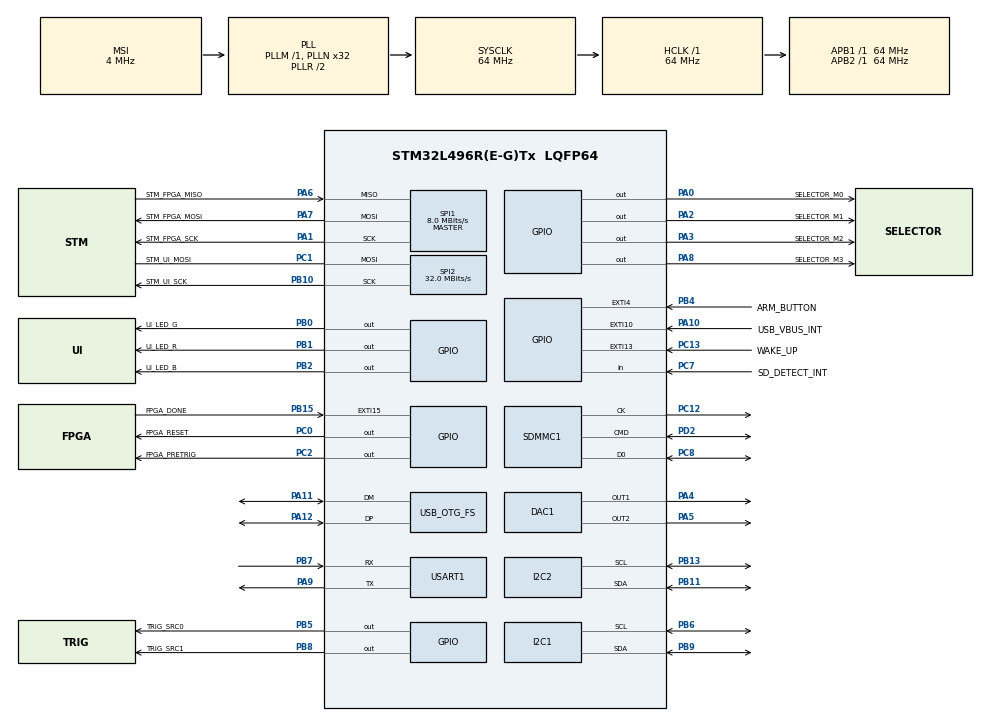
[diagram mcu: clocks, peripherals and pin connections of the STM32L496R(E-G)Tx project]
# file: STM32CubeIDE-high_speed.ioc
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DAC1.DAC_Channel-DAC_OUT2=DAC_CHANNEL_2
Dma.Request0=SPI1_RX
Dma.Request1=SPI1_TX
Dma.SPI1_RX.0.Direction=DMA_PERIPH_TO_MEMORY
Dma.SPI1_RX.0.Instance=DMA1_Channel2
Dma.SPI1_RX.0.MemDataAlignment=DMA_MDATAALIGN_BYTE
Dma.SPI1_RX.0.MemInc=DMA_MINC_ENABLE
Dma.SPI1_RX.0.Mode=DMA_NORMAL
Dma.SPI1_RX.0.PeriphDataAlignment=DMA_PDATAALIGN_BYTE
Dma.SPI1_RX.0.PeriphInc=DMA_PINC_DISABLE
Dma.SPI1_RX.0.Priority=DMA_PRIORITY_LOW
Dma.SPI1_TX.1.Direction=DMA_MEMORY_TO_PERIPH
Dma.SPI1_TX.1.Instance=DMA1_Channel3
Dma.SPI1_TX.1.MemDataAlignment=DMA_MDATAALIGN_BYTE
Dma.SPI1_TX.1.MemInc=DMA_MINC_ENABLE
Dma.SPI1_TX.1.Mode=DMA_NORMAL
Dma.SPI1_TX.1.PeriphDataAlignment=DMA_PDATAALIGN_BYTE
Dma.SPI1_TX.1.PeriphInc=DMA_PINC_DISABLE
Dma.SPI1_TX.1.Priority=DMA_PRIORITY_LOW
FATFS.BSP.number=1
FATFS.USE_DMA_CODE_SD=0
FATFS._MAX_SS=4096
FATFS._MIN_SS=512
FATFS._USE_CHMOD=1
FATFS._USE_MKFS=0
FATFS0.BSP.STBoard=false
FATFS0.BSP.api=Unknown
FATFS0.BSP.i2caddr=0
FATFS0.BSP.instance=PC7
FATFS0.BSP.ip=GPIO
FATFS0.BSP.mode=Input
FATFS0.BSP.name=Detect_SDIO
FATFS0.BSP.solution=PC7
I2C1.Timing=0x10707DBC
I2C2.Timing=0x10707DBC
Mcu.Family=STM32L4
Mcu.Name=STM32L496R(E-G)Tx
Mcu.Package=LQFP64
NVIC.DMA1_Channel2_IRQn=true\:0\:0\:false\:false\:true\:false\:true\:true
NVIC.DMA1_Channel3_IRQn=true\:0\:0\:false\:false\:true\:false\:true\:true
NVIC.EXTI15_10_IRQn=true\:5\:0\:true\:false\:true\:true\:true\:true
NVIC.EXTI4_IRQn=true\:5\:0\:true\:false\:true\:true\:true\:true
NVIC.PriorityGroup=NVIC_PRIORITYGROUP_4
NVIC.TIM1_UP_TIM16_IRQn=true\:0\:0\:false\:false\:true\:true\:true\:true
PA0.GPIO_Label=SELECTOR_M0
PA0.Signal=GPIO_Output
PA1.GPIO_Label=STM_FPGA_SCK
PA1.GPIO_Speed=GPIO_SPEED_FREQ_MEDIUM
PA1.Mode=Full_Duplex_Master
PA1.Signal=SPI1_SCK
PA10.GPIO_Label=USB_VBUS_INT
PA10.Signal=GPXTI10
PA11.Mode=Host_Only
PA11.Signal=USB_OTG_FS_DM
PA12.Mode=Host_Only
PA12.Signal=USB_OTG_FS_DP
PA13\ (JTMS/SWDIO).Mode=Trace_Asynchronous_SW
PA13\ (JTMS/SWDIO).Signal=SYS_JTMS-SWDIO
PA14\ (JTCK/SWCLK).Mode=Trace_Asynchronous_SW
PA14\ (JTCK/SWCLK).Signal=SYS_JTCK-SWCLK
PA2.GPIO_Label=SELECTOR_M1
PA2.Signal=GPIO_Output
PA3.GPIO_Label=SELECTOR_M2
PA3.Signal=GPIO_Output
PA4.Signal=COMP_DAC11_group
PA5.Signal=COMP_DAC12_group
PA6.GPIO_Label=STM_FPGA_MISO
PA6.GPIO_PuPd=GPIO_PULLUP
PA6.GPIO_Speed=GPIO_SPEED_FREQ_MEDIUM
PA6.Mode=Full_Duplex_Master
PA6.Signal=SPI1_MISO
PA7.GPIO_Label=STM_FPGA_MOSI
PA7.GPIO_Speed=GPIO_SPEED_FREQ_MEDIUM
PA7.Mode=Full_Duplex_Master
PA7.Signal=SPI1_MOSI
PA8.GPIO_Label=SELECTOR_M3
PA8.Signal=GPIO_Output
PA9.Mode=Asynchronous
PA9.Signal=USART1_TX
PB0.GPIO_Label=UI_LED_G
PB0.Signal=GPIO_Output
PB1.GPIO_Label=UI_LED_R
PB1.Signal=GPIO_Output
PB10.GPIO_Label=STM_UI_SCK
PB10.GPIO_Speed=GPIO_SPEED_FREQ_MEDIUM
PB10.Mode=Simplex_Bidirectional_Master
PB10.Signal=SPI2_SCK
PB11.Mode=I2C
PB11.Signal=I2C2_SDA
PB13.Mode=I2C
PB13.Signal=I2C2_SCL
PB15.GPIO_Label=FPGA_DONE
PB15.GPIO_ModeDefaultEXTI=GPIO_MODE_IT_RISING_FALLING
PB15.Signal=GPXTI15
PB2.GPIO_Label=UI_LED_B
PB2.Signal=GPIO_Output
PB3\ (JTDO/TRACESWO).Mode=Trace_Asynchronous_SW
PB3\ (JTDO/TRACESWO).Signal=SYS_JTDO-SWO
PB4\ (NJTRST).GPIO_Label=ARM_BUTTON
PB4\ (NJTRST).GPIO_ModeDefaultEXTI=GPIO_MODE_IT_FALLING
PB4\ (NJTRST).GPIO_PuPd=GPIO_PULLUP
PB4\ (NJTRST).Signal=GPXTI4
PB5.GPIO_Label=TRIG_SRC0
PB5.Signal=GPIO_Output
PB6.Mode=I2C
PB6.Signal=I2C1_SCL
PB7.Mode=Asynchronous
PB7.Signal=USART1_RX
PB8.GPIO_Label=TRIG_SRC1
PB8.Signal=GPIO_Output
PB9.Mode=I2C
PB9.Signal=I2C1_SDA
PC0.GPIO_Label=FPGA_RESET
PC0.Signal=GPIO_Output
PC1.GPIO_Label=STM_UI_MOSI
PC1.GPIO_Speed=GPIO_SPEED_FREQ_MEDIUM
PC1.Mode=Simplex_Bidirectional_Master
PC1.Signal=SPI2_MOSI
PC12.Mode=SD_1_bit
PC12.Signal=SDMMC1_CK
PC13.GPIO_Label=WAKE_UP
PC13.GPIO_PuPd=GPIO_PULLUP
PC13.Signal=GPXTI13
PC14-OSC32_IN\ (PC14).Mode=LSE-External-Oscillator
PC14-OSC32_IN\ (PC14).Signal=RCC_OSC32_IN
PC15-OSC32_OUT\ (PC15).Mode=LSE-External-Oscillator
PC15-OSC32_OUT\ (PC15).Signal=RCC_OSC32_OUT
PC2.GPIO_Label=FPGA_PRETRIG
PC2.Signal=GPIO_Output
PC7.GPIO_Label=SD_DETECT_INT
PC7.Signal=GPIO_Input
PC8.Mode=SD_1_bit
PC8.Signal=SDMMC1_D0
PD2.Mode=SD_1_bit
PD2.Signal=SDMMC1_CMD
PH0-OSC_IN\ (PH0).Mode=HSE-External-Oscillator
PH0-OSC_IN\ (PH0).Signal=RCC_OSC_IN
PH1-OSC_OUT\ (PH1).Mode=HSE-External-Oscillator
PH1-OSC_OUT\ (PH1).Signal=RCC_OSC_OUT
ProjectManager.HeapSize=0x1000
ProjectManager.StackSize=0x1000
ProjectManager.TargetToolchain=STM32CubeIDE
RCC.ADCFreq_Value=32000000
RCC.AHBFreq_Value=64000000
RCC.APB1Freq_Value=64000000
RCC.APB1TimFreq_Value=64000000
RCC.APB2Freq_Value=64000000
RCC.APB2TimFreq_Value=64000000
RCC.CK48CLockSelection=RCC_USBCLKSOURCE_HSI48
RCC.CortexFreq_Value=64000000
RCC.HCLKFreq_Value=64000000
RCC.HSE_VALUE=8000000
RCC.HSI48_VALUE=48000000
RCC.HSI_VALUE=16000000
RCC.MSI_VALUE=4000000
RCC.PLLN=32
RCC.PLLSAI1N=16
RCC.SYSCLKFreq_VALUE=64000000
RCC.SYSCLKSource=RCC_SYSCLKSOURCE_PLLCLK
RCC.USBFreq_Value=48000000
RCC.VCOOutputFreq_Value=128000000
SDMMC1.ClockDiv=4
SH.COMP_DAC11_group.0=DAC1_OUT1,DAC_OUT1
SH.COMP_DAC12_group.0=DAC1_OUT2,DAC_OUT2
SPI1.BaudRatePrescaler=SPI_BAUDRATEPRESCALER_8
SPI1.CLKPhase=SPI_PHASE_2EDGE
SPI1.CLKPolarity=SPI_POLARITY_HIGH
SPI1.CalculateBaudRate=8.0 MBits/s
SPI1.DataSize=SPI_DATASIZE_8BIT
SPI1.Direction=SPI_DIRECTION_2LINES
SPI1.Mode=SPI_MODE_MASTER
SPI1.VirtualType=VM_MASTER
SPI2.CalculateBaudRate=32.0 MBits/s
SPI2.Direction=SPI_DIRECTION_1LINE
SPI2.Mode=SPI_MODE_MASTER
SPI2.VirtualType=VM_MASTER
TIM16.Period=1000
TIM16.Prescaler=6400-1
USART1.VirtualMode-Asynchronous=VM_ASYNC
USB_OTG_FS.VirtualMode=Host_Only
USB_OTG_FS.phy_itface=HCD_PHY_EMBEDDED
VP_FATFS_VS_SDIO.Mode=SDIO
VP_TIM16_VS_ClockSourceINT.Mode=Enable_Timer
board=custom

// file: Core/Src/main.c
/* USER CODE BEGIN Header */
/**
  ******************************************************************************
  * @file           : main.c
  * @brief          : Main program body
  ******************************************************************************
  * @attention
  *
  * Copyright (c) 2023 STMicroelectronics.
  * All rights reserved.
  *
  * This software is licensed under terms that can be found in the LICENSE file
  * in the root directory of this software component.
  * If no LICENSE file comes with this software, it is provided AS-IS.
  *
  ******************************************************************************
  */
/* USER CODE END Header */
#include "main.h"
#include "fatfs.h"

/* USER CODE BEGIN Includes */

#include "fram_func.h"
#include "sd_card_func.h"
/* USER CODE END Includes */

/* USER CODE BEGIN PD */
//#define MEMORY_SIZE	524288
/* USER CODE END PD */

 DAC_HandleTypeDef hdac1;

I2C_HandleTypeDef hi2c1;
I2C_HandleTypeDef hi2c2;

SD_HandleTypeDef hsd1;

SPI_HandleTypeDef hspi1;
SPI_HandleTypeDef hspi2;
DMA_HandleTypeDef hdma_spi1_rx;
DMA_HandleTypeDef hdma_spi1_tx;

TIM_HandleTypeDef htim16;

UART_HandleTypeDef huart1;

HCD_HandleTypeDef hhcd_USB_OTG_FS;

void SystemClock_Config(void);
static void MX_GPIO_Init(void);
static void MX_DAC1_Init(void);
static void MX_SDMMC1_SD_Init(void);
static void MX_SPI1_Init(void);
static void MX_USART1_UART_Init(void);
static void MX_I2C1_Init(void);
static void MX_I2C2_Init(void);
static void MX_SPI2_Init(void);
static void MX_DMA_Init(void);
static void MX_USB_OTG_FS_HCD_Init(void);
static void MX_TIM16_Init(void);

/* USER CODE BEGIN 0 */
const uint32_t TAB_SIZE = (MEMORY_SIZE/16);
enum color_Led LED_STATE = OFF;
bool reset = true;
bool start = true;
bool acqu = true;
/* USER CODE END 0 */

int main(void)
{
  /* USER CODE BEGIN 1 */
	//FRESULT res; /* FatFs function common result code */
	TCHAR* fileName0 ;
	TCHAR* fileName1 ;
	TCHAR* fileName2 ;
	TCHAR* fileName3 ;
	TCHAR* file_Init = "INIT.txt";
	uint8_t	 TX_Data_ADC[2];
	uint8_t  TX_FRAM_TEST_R[10] ;
	uint16_t DATA_SD;
	uint16_t DATA_ind [TAB_SIZE/2];
	uint8_t pretrigValue = 100;

	//uint8_t  RX_DATA [524288];   -> TOO BIG

  /* USER CODE END 1 */

  /* MCU Configuration--------------------------------------------------------*/

  /* Reset of all peripherals, Initializes the Flash interface and the Systick. */
  HAL_Init();

  /* Configure the system clock */
  SystemClock_Config();

  /* Initialize all configured peripherals */
  MX_GPIO_Init();
  MX_DAC1_Init();
  MX_SDMMC1_SD_Init();
  MX_SPI1_Init();
  MX_USART1_UART_Init();
  MX_I2C1_Init();
  MX_I2C2_Init();
  MX_SPI2_Init();
  MX_DMA_Init();
  MX_USB_OTG_FS_HCD_Init();
  MX_FATFS_Init();
  MX_TIM16_Init();

  /* Infinite loop */
  /* USER CODE BEGIN WHILE */
   uint8_t start_Add[4] ;
   uint32_t start_Add_tot = 0 ;
   uint32_t Add_= 0;
   uint8_t TX_32 = 0;
   uint16_t boucle = 0;
   uint8_t wtext_0 [100] ;
   uint8_t wtext_1 [100] ;
   uint8_t wtext_2 [100] ;
   uint8_t wtext_3 [100] ;
   uint8_t* receive;
   uint8_t chann;
   double* dataInit_;
   double triggDacValue;
   PIN_reset();
   //FRAM_device(hspi1);
  while (1)
  {
	acqu = true;
	TX_32 = 0;
	start = true;
	HAL_SuspendTick();
	__WFI();

	//--------------------------------------------------RESET FPGA----------------------------------------
	HAL_GPIO_WritePin(FPGA_RESET_GPIO_Port, FPGA_RESET_Pin, GPIO_PIN_RESET);
	HAL_Delay(100);
	HAL_GPIO_WritePin(FPGA_RESET_GPIO_Port, FPGA_RESET_Pin, GPIO_PIN_SET);
	//--------------------------------------------------RESET M---------------------------------------
	PIN_reset();
	//----------------------------------------------------------INIT-------------------------------------------
	//-------------------init file sd --------------------------------------
	sprintf((char*)wtext_0, "FRAM0_%d.bin",boucle);
	fileName0 = (TCHAR*)wtext_0;
	SD_create_file(SDFile, fileName0);
	sprintf((char*)wtext_1, "FRAM1_%d.bin",boucle);
	fileName1 = (TCHAR*)wtext_1;
	SD_create_file(SDFile, fileName1);
	sprintf((char*)wtext_2, "FRAM2_%d.bin",boucle);
	fileName2 = (TCHAR*)wtext_2;
	SD_create_file(SDFile, fileName2);
	sprintf((char*)wtext_3, "FRAM3_%d.bin",boucle);
	fileName3 = (TCHAR*)wtext_3;
	SD_create_file(SDFile, fileName3);

	//-------------------init value------------------------------------------------------------------------
	dataInit_ = initValue(SDFile, file_Init);

	chann = (uint8_t)dataInit_[0];
	if(chann >4){
		chann = 0;
	}
	triggDacValue = dataInit_[1]*(0.02)+1;
	if(triggDacValue <1 || triggDacValue>3.3){
		triggDacValue = 1;
	}
	pretrigValue = (uint8_t)dataInit_[2];
	if(pretrigValue >100){
		pretrigValue = 100;
	}
	//--------------------------------------------------LED CONTROL----------------------------------------
	if(LED_STATE != RED){
		LED_on(BLUE);
	}
	else{
		while(1){
			//reset the systeme
		}
	}

	//-------------------init trigg dc value--------------------------------
	uint32_t triggDac = (uint32_t)((triggDacValue/VREF_VOLTAGE)*DAC_MAX_VALUE);
	HAL_DAC_SetValue(&hdac1, DAC1_CHANNEL_2, DAC_ALIGN_12B_R, triggDac);
	HAL_DAC_Start(&hdac1, DAC1_CHANNEL_2);
	HAL_DAC_SetValue(&hdac1, DAC1_CHANNEL_1, DAC_ALIGN_12B_R, triggDac);
	HAL_DAC_Start(&hdac1, DAC1_CHANNEL_1);

	//-------------------init pretrigg value--------------------------------
	HAL_SPI_Transmit(&hspi1, (uint8_t*)&pretrigValue,1, 100);
	HAL_GPIO_WritePin(FPGA_PRETRIG_GPIO_Port, FPGA_PRETRIG_Pin, GPIO_PIN_SET);
	HAL_SPI_Transmit(&hspi1, (uint8_t*)&pretrigValue,1, 100);
	HAL_GPIO_WritePin(FPGA_PRETRIG_GPIO_Port, FPGA_PRETRIG_Pin, GPIO_PIN_RESET);

	//-------------------init trigg channel --------------------------------------
	setTriggChannel(chann);
	//--------------------------------------------------RESET FRAM REG----------------------------------------
	FRAM_reset_reg(hspi1);
	//--------------------------------------------------WRITE FRAM REG----------------------------------------
	FRAM_write_reg(hspi1);
	//--------------------------------------------------ADC WRITE REG-----------------------------------------
	TX_Data_ADC[0] = 0xA2;
	TX_Data_ADC[1] = 0x80;
	HAL_GPIO_WritePin(SELECTOR_M1_GPIO_Port, SELECTOR_M1_Pin, GPIO_PIN_SET);
	HAL_SPI_Transmit(&hspi1, (uint8_t*)TX_Data_ADC,2, 100);
	HAL_GPIO_WritePin(SELECTOR_M1_GPIO_Port, SELECTOR_M1_Pin, GPIO_PIN_RESET);
	HAL_Delay(100);

	//---------------------------------------------------WRITE FRAM-------------------------------------------
	PIN_reset();
	TX_FRAM_TEST_R[0] = 2;
	for(int i =1; i<5;i++){
	  TX_FRAM_TEST_R[i] = 0;
	}
	TX_FRAM_TEST_R[3] = 0;
	TX_FRAM_TEST_R[4] = 0;
	TX_FRAM_TEST_R[5] = 56;

	HAL_GPIO_WritePin(SELECTOR_M3_GPIO_Port, SELECTOR_M3_Pin, GPIO_PIN_SET);
	HAL_SPI_Transmit(&hspi1, (uint8_t*)TX_FRAM_TEST_R,6, 100);
	HAL_Delay(100);

	//---------------------------------------------------ADC TO FRAM--------------------------------------------
	HAL_GPIO_WritePin(SELECTOR_M1_GPIO_Port, SELECTOR_M1_Pin, GPIO_PIN_SET);
	//---------------------------------------------------SLEEP MODE--------------------------------------------
	//HAL_PWR_EnterSLEEPMode(PWR_LOWPOWERREGULATOR_ON, PWR_SLEEPENTRY_WFI);
	while(acqu){
		HAL_SuspendTick();
		__WFI();
	}
	//HAL_PWR_ENTER
	PIN_reset();
	while(TX_32 <16) {
		  if(TX_32 == 0){
			  PIN_reset();
			  HAL_GPIO_WritePin(SELECTOR_M0_GPIO_Port, SELECTOR_M0_Pin, GPIO_PIN_SET);
			  HAL_GPIO_WritePin(SELECTOR_M1_GPIO_Port, SELECTOR_M1_Pin, GPIO_PIN_SET);
			  HAL_GPIO_WritePin(SELECTOR_M3_GPIO_Port, SELECTOR_M3_Pin, GPIO_PIN_SET);
			  HAL_SPI_Receive(&hspi1, (uint8_t*)start_Add,4, 100);
			  HAL_Delay(100);
			  start_Add_tot = (((uint32_t)start_Add[0])<<24)+(((uint32_t)start_Add[1])<<16)
										+(((uint32_t)start_Add[2])<<8)+((uint32_t)start_Add[3]);
			  PIN_reset();
			  start_Add_tot = start_Add_tot>>12;
			  //start_Add_tot = 0;
			  HAL_TIM_Base_Start_IT(&htim16);
		  }
		 //---------------------------------------------------READ FRAM 0--------------------------------------------
		 for(uint32_t i = 0; i<(TAB_SIZE/2) ; i++){
			  Add_ = i*2+TAB_SIZE*TX_32+(MEMORY_SIZE);
			  if(Add_> MEMORY_SIZE){
				  Add_ = Add_ - MEMORY_SIZE;
			  }
			  //receive = FRAM_read(FRAM_0,i*2+TAB_SIZE*TX_32, hspi1, 2);
			 receive = FRAM_read(FRAM_0, Add_, hspi1, 2);
			 DATA_SD = (((uint16_t)receive[0])<<8)+(uint16_t)(receive[1]);
			 // DATA_SD = (((uint16_t)RX_FAST[i*2])<<8)+(uint16_t)(RX_FAST[i*2+1]);
			  DATA_ind[i] = DATA_SD;
		  }
		  SD_write_data(SDFile, fileName0, DATA_ind);
		  //---------------------------------------------------READ FRAM 1--------------------------------------------
		  for(uint32_t i = 0; i<(TAB_SIZE/2) ; i++){
			  Add_ = i*2+TAB_SIZE*TX_32+(MEMORY_SIZE);
			  if(Add_> MEMORY_SIZE){
				  Add_ = Add_ - MEMORY_SIZE;
			  }
			  receive = FRAM_read(FRAM_1, Add_, hspi1, 2);
			  DATA_SD = (((uint16_t)receive[0])<<8)+(uint16_t)(receive[1]);
			  //DATA_SD = (short)DATA_SD;
			  DATA_ind[i] = DATA_SD;
		  }
		  SD_write_data(SDFile, fileName1, DATA_ind);
		  //---------------------------------------------------READ FRAM 2--------------------------------------------
		  for(uint32_t i = 0; i<TAB_SIZE/2 ; i++){
			  Add_ = i*2+TAB_SIZE*TX_32+(MEMORY_SIZE-start_Add_tot);
			  if(Add_> MEMORY_SIZE){
				  Add_ = Add_ - MEMORY_SIZE;
			  }
			  receive = FRAM_read(FRAM_2,Add_, hspi1, 2);
			  DATA_SD = (((uint16_t)receive[0])<<8)+(uint16_t)(receive[1]);
			  //DATA_SD = (short)DATA_SD;
			  DATA_ind[i] = DATA_SD;
		  }
		  SD_write_data(SDFile, fileName2, DATA_ind);
		  //---------------------------------------------------READ FRAM 3--------------------------------------------
		  for(uint32_t i = 0; i<TAB_SIZE/2 ; i++){
			  Add_ = i*2+TAB_SIZE*TX_32+(MEMORY_SIZE-start_Add_tot);
			  if(Add_> MEMORY_SIZE){
				  Add_ = Add_ - MEMORY_SIZE;
			  }
			  receive = FRAM_read(FRAM_3,Add_, hspi1, 2);
			  DATA_SD = (((uint16_t)receive[0])<<8)+(uint16_t)(receive[1]);
			  //DATA_SD = (short)DATA_SD;
			  DATA_ind[i] = DATA_SD;
		  }
		  SD_write_data(SDFile, fileName3, DATA_ind);
		  TX_32++;
		  //receive = FRAM_read(FRAM_3, TX_32, hspi1, 2);
		  //DATA_SD = (((uint16_t)receive[0])<<8)+(uint16_t)(receive[1]);
		  //DATA_SD = (short)DATA_SD;
		  //SD_write_data(SDFile, fileName3, DATA_SD);
	  }
	  if(TX_32==16){
		  HAL_TIM_Base_Stop(&htim16);
		  if(LED_STATE != RED){
			  LED_off();
		  	  LED_on(GREEN); //6
		  }
		  else{
			  LED_off();
			  LED_on(RED);
		  }
	  }
	  boucle++;
    /* USER CODE END WHILE */

  }
}

void SystemClock_Config(void)
{
  RCC_OscInitTypeDef RCC_OscInitStruct = {0};
  RCC_ClkInitTypeDef RCC_ClkInitStruct = {0};

  /** Configure the main internal regulator output voltage
  */
  if (HAL_PWREx_ControlVoltageScaling(PWR_REGULATOR_VOLTAGE_SCALE1) != HAL_OK)
  {
    Error_Handler();
  }

  /** Initializes the RCC Oscillators according to the specified parameters
  * in the RCC_OscInitTypeDef structure.
  */
  RCC_OscInitStruct.OscillatorType = RCC_OSCILLATORTYPE_HSI48|RCC_OSCILLATORTYPE_MSI;
  RCC_OscInitStruct.HSI48State = RCC_HSI48_ON;
  RCC_OscInitStruct.MSIState = RCC_MSI_ON;
  RCC_OscInitStruct.MSICalibrationValue = 0;
  RCC_OscInitStruct.MSIClockRange = RCC_MSIRANGE_6;
  RCC_OscInitStruct.PLL.PLLState = RCC_PLL_ON;
  RCC_OscInitStruct.PLL.PLLSource = RCC_PLLSOURCE_MSI;
  RCC_OscInitStruct.PLL.PLLM = 1;
  RCC_OscInitStruct.PLL.PLLN = 32;
  RCC_OscInitStruct.PLL.PLLP = RCC_PLLP_DIV2;
  RCC_OscInitStruct.PLL.PLLQ = RCC_PLLQ_DIV2;
  RCC_OscInitStruct.PLL.PLLR = RCC_PLLR_DIV2;
  if (HAL_RCC_OscConfig(&RCC_OscInitStruct) != HAL_OK)
  {
    Error_Handler();
  }

  /** Initializes the CPU, AHB and APB buses clocks
  */
  RCC_ClkInitStruct.ClockType = RCC_CLOCKTYPE_HCLK|RCC_CLOCKTYPE_SYSCLK
                              |RCC_CLOCKTYPE_PCLK1|RCC_CLOCKTYPE_PCLK2;
  RCC_ClkInitStruct.SYSCLKSource = RCC_SYSCLKSOURCE_PLLCLK;
  RCC_ClkInitStruct.AHBCLKDivider = RCC_SYSCLK_DIV1;
  RCC_ClkInitStruct.APB1CLKDivider = RCC_HCLK_DIV1;
  RCC_ClkInitStruct.APB2CLKDivider = RCC_HCLK_DIV1;

  if (HAL_RCC_ClockConfig(&RCC_ClkInitStruct, FLASH_LATENCY_3) != HAL_OK)
  {
    Error_Handler();
  }
}

static void MX_DAC1_Init(void)
{

  DAC_ChannelConfTypeDef sConfig = {0};

  /** DAC Initialization
  */
  hdac1.Instance = DAC1;
  if (HAL_DAC_Init(&hdac1) != HAL_OK)
  {
    Error_Handler();
  }

  /** DAC channel OUT1 config
  */
  sConfig.DAC_SampleAndHold = DAC_SAMPLEANDHOLD_DISABLE;
  sConfig.DAC_Trigger = DAC_TRIGGER_NONE;
  sConfig.DAC_OutputBuffer = DAC_OUTPUTBUFFER_ENABLE;
  sConfig.DAC_ConnectOnChipPeripheral = DAC_CHIPCONNECT_DISABLE;
  sConfig.DAC_UserTrimming = DAC_TRIMMING_FACTORY;
  if (HAL_DAC_ConfigChannel(&hdac1, &sConfig, DAC_CHANNEL_1) != HAL_OK)
  {
    Error_Handler();
  }

  /** DAC channel OUT2 config
  */
  if (HAL_DAC_ConfigChannel(&hdac1, &sConfig, DAC_CHANNEL_2) != HAL_OK)
  {
    Error_Handler();
  }

}

static void MX_I2C1_Init(void)
{

  hi2c1.Instance = I2C1;
  hi2c1.Init.Timing = 0x10707DBC;
  hi2c1.Init.OwnAddress1 = 0;
  hi2c1.Init.AddressingMode = I2C_ADDRESSINGMODE_7BIT;
  hi2c1.Init.DualAddressMode = I2C_DUALADDRESS_DISABLE;
  hi2c1.Init.OwnAddress2 = 0;
  hi2c1.Init.OwnAddress2Masks = I2C_OA2_NOMASK;
  hi2c1.Init.GeneralCallMode = I2C_GENERALCALL_DISABLE;
  hi2c1.Init.NoStretchMode = I2C_NOSTRETCH_DISABLE;
  if (HAL_I2C_Init(&hi2c1) != HAL_OK)
  {
    Error_Handler();
  }

  /** Configure Analogue filter
  */
  if (HAL_I2CEx_ConfigAnalogFilter(&hi2c1, I2C_ANALOGFILTER_ENABLE) != HAL_OK)
  {
    Error_Handler();
  }

  /** Configure Digital filter
  */
  if (HAL_I2CEx_ConfigDigitalFilter(&hi2c1, 0) != HAL_OK)
  {
    Error_Handler();
  }

}

static void MX_I2C2_Init(void)
{

  hi2c2.Instance = I2C2;
  hi2c2.Init.Timing = 0x10707DBC;
  hi2c2.Init.OwnAddress1 = 0;
  hi2c2.Init.AddressingMode = I2C_ADDRESSINGMODE_7BIT;
  hi2c2.Init.DualAddressMode = I2C_DUALADDRESS_DISABLE;
  hi2c2.Init.OwnAddress2 = 0;
  hi2c2.Init.OwnAddress2Masks = I2C_OA2_NOMASK;
  hi2c2.Init.GeneralCallMode = I2C_GENERALCALL_DISABLE;
  hi2c2.Init.NoStretchMode = I2C_NOSTRETCH_DISABLE;
  if (HAL_I2C_Init(&hi2c2) != HAL_OK)
  {
    Error_Handler();
  }

  /** Configure Analogue filter
  */
  if (HAL_I2CEx_ConfigAnalogFilter(&hi2c2, I2C_ANALOGFILTER_ENABLE) != HAL_OK)
  {
    Error_Handler();
  }

  /** Configure Digital filter
  */
  if (HAL_I2CEx_ConfigDigitalFilter(&hi2c2, 0) != HAL_OK)
  {
    Error_Handler();
  }

}

static void MX_SDMMC1_SD_Init(void)
{

  hsd1.Instance = SDMMC1;
  hsd1.Init.ClockEdge = SDMMC_CLOCK_EDGE_RISING;
  hsd1.Init.ClockBypass = SDMMC_CLOCK_BYPASS_DISABLE;
  hsd1.Init.ClockPowerSave = SDMMC_CLOCK_POWER_SAVE_DISABLE;
  hsd1.Init.BusWide = SDMMC_BUS_WIDE_1B;
  hsd1.Init.HardwareFlowControl = SDMMC_HARDWARE_FLOW_CONTROL_DISABLE;
  hsd1.Init.ClockDiv = 4;

}

static void MX_SPI1_Init(void)
{

  /* SPI1 parameter configuration*/
  hspi1.Instance = SPI1;
  hspi1.Init.Mode = SPI_MODE_MASTER;
  hspi1.Init.Direction = SPI_DIRECTION_2LINES;
  hspi1.Init.DataSize = SPI_DATASIZE_8BIT;
  hspi1.Init.CLKPolarity = SPI_POLARITY_HIGH;
  hspi1.Init.CLKPhase = SPI_PHASE_2EDGE;
  hspi1.Init.NSS = SPI_NSS_SOFT;
  hspi1.Init.BaudRatePrescaler = SPI_BAUDRATEPRESCALER_8;
  hspi1.Init.FirstBit = SPI_FIRSTBIT_MSB;
  hspi1.Init.TIMode = SPI_TIMODE_DISABLE;
  hspi1.Init.CRCCalculation = SPI_CRCCALCULATION_DISABLE;
  hspi1.Init.CRCPolynomial = 7;
  hspi1.Init.CRCLength = SPI_CRC_LENGTH_DATASIZE;
  hspi1.Init.NSSPMode = SPI_NSS_PULSE_DISABLE;
  if (HAL_SPI_Init(&hspi1) != HAL_OK)
  {
    Error_Handler();
  }

}

static void MX_SPI2_Init(void)
{

  /* SPI2 parameter configuration*/
  hspi2.Instance = SPI2;
  hspi2.Init.Mode = SPI_MODE_MASTER;
  hspi2.Init.Direction = SPI_DIRECTION_1LINE;
  hspi2.Init.DataSize = SPI_DATASIZE_4BIT;
  hspi2.Init.CLKPolarity = SPI_POLARITY_LOW;
  hspi2.Init.CLKPhase = SPI_PHASE_1EDGE;
  hspi2.Init.NSS = SPI_NSS_SOFT;
  hspi2.Init.BaudRatePrescaler = SPI_BAUDRATEPRESCALER_2;
  hspi2.Init.FirstBit = SPI_FIRSTBIT_MSB;
  hspi2.Init.TIMode = SPI_TIMODE_DISABLE;
  hspi2.Init.CRCCalculation = SPI_CRCCALCULATION_DISABLE;
  hspi2.Init.CRCPolynomial = 7;
  hspi2.Init.CRCLength = SPI_CRC_LENGTH_DATASIZE;
  hspi2.Init.NSSPMode = SPI_NSS_PULSE_ENABLE;
  if (HAL_SPI_Init(&hspi2) != HAL_OK)
  {
    Error_Handler();
  }

}

static void MX_TIM16_Init(void)
{

  htim16.Instance = TIM16;
  htim16.Init.Prescaler = 6400-1;
  htim16.Init.CounterMode = TIM_COUNTERMODE_UP;
  htim16.Init.Period = 1000;
  htim16.Init.ClockDivision = TIM_CLOCKDIVISION_DIV1;
  htim16.Init.RepetitionCounter = 0;
  htim16.Init.AutoReloadPreload = TIM_AUTORELOAD_PRELOAD_DISABLE;
  if (HAL_TIM_Base_Init(&htim16) != HAL_OK)
  {
    Error_Handler();
  }

}

static void MX_USART1_UART_Init(void)
{

  huart1.Instance = USART1;
  huart1.Init.BaudRate = 115200;
  huart1.Init.WordLength = UART_WORDLENGTH_8B;
  huart1.Init.StopBits = UART_STOPBITS_1;
  huart1.Init.Parity = UART_PARITY_NONE;
  huart1.Init.Mode = UART_MODE_TX_RX;
  huart1.Init.HwFlowCtl = UART_HWCONTROL_NONE;
  huart1.Init.OverSampling = UART_OVERSAMPLING_16;
  huart1.Init.OneBitSampling = UART_ONE_BIT_SAMPLE_DISABLE;
  huart1.AdvancedInit.AdvFeatureInit = UART_ADVFEATURE_NO_INIT;
  if (HAL_UART_Init(&huart1) != HAL_OK)
  {
    Error_Handler();
  }

}

static void MX_USB_OTG_FS_HCD_Init(void)
{

  hhcd_USB_OTG_FS.Instance = USB_OTG_FS;
  hhcd_USB_OTG_FS.Init.Host_channels = 12;
  hhcd_USB_OTG_FS.Init.speed = HCD_SPEED_FULL;
  hhcd_USB_OTG_FS.Init.dma_enable = DISABLE;
  hhcd_USB_OTG_FS.Init.phy_itface = HCD_PHY_EMBEDDED;
  hhcd_USB_OTG_FS.Init.Sof_enable = DISABLE;
  if (HAL_HCD_Init(&hhcd_USB_OTG_FS) != HAL_OK)
  {
    Error_Handler();
  }

}

static void MX_DMA_Init(void)
{

  /* DMA controller clock enable */
  __HAL_RCC_DMA1_CLK_ENABLE();

  /* DMA interrupt init */
  /* DMA1_Channel2_IRQn interrupt configuration */
  HAL_NVIC_SetPriority(DMA1_Channel2_IRQn, 0, 0);
  HAL_NVIC_EnableIRQ(DMA1_Channel2_IRQn);
  /* DMA1_Channel3_IRQn interrupt configuration */
  HAL_NVIC_SetPriority(DMA1_Channel3_IRQn, 0, 0);
  HAL_NVIC_EnableIRQ(DMA1_Channel3_IRQn);

}

static void MX_GPIO_Init(void)
{
  GPIO_InitTypeDef GPIO_InitStruct = {0};

  /* GPIO Ports Clock Enable */
  __HAL_RCC_GPIOC_CLK_ENABLE();
  __HAL_RCC_GPIOH_CLK_ENABLE();
  __HAL_RCC_GPIOA_CLK_ENABLE();
  __HAL_RCC_GPIOB_CLK_ENABLE();
  __HAL_RCC_GPIOD_CLK_ENABLE();

  /*Configure GPIO pin Output Level */
  HAL_GPIO_WritePin(GPIOC, FPGA_RESET_Pin|FPGA_PRETRIG_Pin, GPIO_PIN_RESET);

  /*Configure GPIO pin Output Level */
  HAL_GPIO_WritePin(GPIOA, SELECTOR_M0_Pin|SELECTOR_M1_Pin|SELECTOR_M2_Pin|SELECTOR_M3_Pin, GPIO_PIN_RESET);

  /*Configure GPIO pin Output Level */
  HAL_GPIO_WritePin(GPIOB, UI_LED_G_Pin|UI_LED_R_Pin|UI_LED_B_Pin|TRIG_SRC0_Pin
                          |TRIG_SRC1_Pin, GPIO_PIN_RESET);

  /*Configure GPIO pin : WAKE_UP_Pin */
  GPIO_InitStruct.Pin = WAKE_UP_Pin;
  GPIO_InitStruct.Mode = GPIO_MODE_IT_RISING;
  GPIO_InitStruct.Pull = GPIO_PULLUP;
  HAL_GPIO_Init(WAKE_UP_GPIO_Port, &GPIO_InitStruct);

  /*Configure GPIO pins : FPGA_RESET_Pin FPGA_PRETRIG_Pin */
  GPIO_InitStruct.Pin = FPGA_RESET_Pin|FPGA_PRETRIG_Pin;
  GPIO_InitStruct.Mode = GPIO_MODE_OUTPUT_PP;
  GPIO_InitStruct.Pull = GPIO_NOPULL;
  GPIO_InitStruct.Speed = GPIO_SPEED_FREQ_LOW;
  HAL_GPIO_Init(GPIOC, &GPIO_InitStruct);

  /*Configure GPIO pins : SELECTOR_M0_Pin SELECTOR_M1_Pin SELECTOR_M2_Pin SELECTOR_M3_Pin */
  GPIO_InitStruct.Pin = SELECTOR_M0_Pin|SELECTOR_M1_Pin|SELECTOR_M2_Pin|SELECTOR_M3_Pin;
  GPIO_InitStruct.Mode = GPIO_MODE_OUTPUT_PP;
  GPIO_InitStruct.Pull = GPIO_NOPULL;
  GPIO_InitStruct.Speed = GPIO_SPEED_FREQ_LOW;
  HAL_GPIO_Init(GPIOA, &GPIO_InitStruct);

  /*Configure GPIO pins : UI_LED_G_Pin UI_LED_R_Pin UI_LED_B_Pin TRIG_SRC0_Pin
                           TRIG_SRC1_Pin */
  GPIO_InitStruct.Pin = UI_LED_G_Pin|UI_LED_R_Pin|UI_LED_B_Pin|TRIG_SRC0_Pin
                          |TRIG_SRC1_Pin;
  GPIO_InitStruct.Mode = GPIO_MODE_OUTPUT_PP;
  GPIO_InitStruct.Pull = GPIO_NOPULL;
  GPIO_InitStruct.Speed = GPIO_SPEED_FREQ_LOW;
  HAL_GPIO_Init(GPIOB, &GPIO_InitStruct);

  /*Configure GPIO pin : FPGA_DONE_Pin */
  GPIO_InitStruct.Pin = FPGA_DONE_Pin;
  GPIO_InitStruct.Mode = GPIO_MODE_IT_RISING_FALLING;
  GPIO_InitStruct.Pull = GPIO_NOPULL;
  HAL_GPIO_Init(FPGA_DONE_GPIO_Port, &GPIO_InitStruct);

  /*Configure GPIO pin : SD_DETECT_INT_Pin */
  GPIO_InitStruct.Pin = SD_DETECT_INT_Pin;
  GPIO_InitStruct.Mode = GPIO_MODE_INPUT;
  GPIO_InitStruct.Pull = GPIO_NOPULL;
  HAL_GPIO_Init(SD_DETECT_INT_GPIO_Port, &GPIO_InitStruct);

  /*Configure GPIO pin : USB_VBUS_INT_Pin */
  GPIO_InitStruct.Pin = USB_VBUS_INT_Pin;
  GPIO_InitStruct.Mode = GPIO_MODE_IT_RISING;
  GPIO_InitStruct.Pull = GPIO_NOPULL;
  HAL_GPIO_Init(USB_VBUS_INT_GPIO_Port, &GPIO_InitStruct);

  /*Configure GPIO pin : ARM_BUTTON_Pin */
  GPIO_InitStruct.Pin = ARM_BUTTON_Pin;
  GPIO_InitStruct.Mode = GPIO_MODE_IT_FALLING;
  GPIO_InitStruct.Pull = GPIO_PULLUP;
  HAL_GPIO_Init(ARM_BUTTON_GPIO_Port, &GPIO_InitStruct);

  /* EXTI interrupt init*/
  HAL_NVIC_SetPriority(EXTI4_IRQn, 5, 0);
  HAL_NVIC_EnableIRQ(EXTI4_IRQn);

  HAL_NVIC_SetPriority(EXTI15_10_IRQn, 5, 0);
  HAL_NVIC_EnableIRQ(EXTI15_10_IRQn);

}

/* USER CODE BEGIN 4 */
#ifdef __GNUC__
  /* With GCC, small printf (option LD Linker->Libraries->Small printf
     set to 'Yes') calls __io_putchar() */
int __io_putchar(int ch)
#else
int fputc(int ch, FILE *f)
#endif /* __GNUC__ */
{
  /* Place your implementation of fputc here */
  /* e.g. write a character to the UART3 and Loop until the end of transmission */
  HAL_UART_Transmit(&huart1, (uint8_t *)&ch, 1, HAL_MAX_DELAY);
  return ch;
}
void HAL_TIM_PeriodElapsedCallback(TIM_HandleTypeDef *htim){
	if(htim== &htim16){
		HAL_GPIO_TogglePin(UI_LED_B_GPIO_Port, UI_LED_B_Pin);
	}
}
/* USER CODE END 4 */

void Error_Handler(void)
{
  __disable_irq();
  while (1)
  {
  }
}
